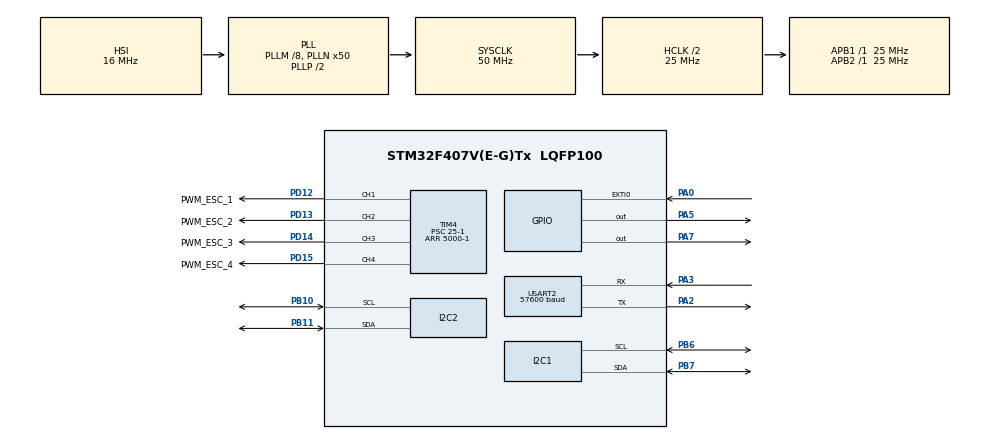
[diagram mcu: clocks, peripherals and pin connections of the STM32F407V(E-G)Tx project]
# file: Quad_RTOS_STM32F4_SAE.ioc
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Dma.Request0=USART2_TX
Dma.Request1=TIM2_UP/CH3
Dma.TIM2_UP/CH3.1.Direction=DMA_PERIPH_TO_MEMORY
Dma.TIM2_UP/CH3.1.FIFOMode=DMA_FIFOMODE_DISABLE
Dma.TIM2_UP/CH3.1.Instance=DMA1_Stream1
Dma.TIM2_UP/CH3.1.MemDataAlignment=DMA_MDATAALIGN_WORD
Dma.TIM2_UP/CH3.1.MemInc=DMA_MINC_ENABLE
Dma.TIM2_UP/CH3.1.Mode=DMA_NORMAL
Dma.TIM2_UP/CH3.1.PeriphDataAlignment=DMA_PDATAALIGN_WORD
Dma.TIM2_UP/CH3.1.PeriphInc=DMA_PINC_DISABLE
Dma.TIM2_UP/CH3.1.Priority=DMA_PRIORITY_LOW
Dma.USART2_TX.0.Direction=DMA_MEMORY_TO_PERIPH
Dma.USART2_TX.0.FIFOMode=DMA_FIFOMODE_DISABLE
Dma.USART2_TX.0.Instance=DMA1_Stream6
Dma.USART2_TX.0.MemDataAlignment=DMA_MDATAALIGN_BYTE
Dma.USART2_TX.0.MemInc=DMA_MINC_ENABLE
Dma.USART2_TX.0.Mode=DMA_NORMAL
Dma.USART2_TX.0.PeriphDataAlignment=DMA_PDATAALIGN_BYTE
Dma.USART2_TX.0.PeriphInc=DMA_PINC_DISABLE
Dma.USART2_TX.0.Priority=DMA_PRIORITY_LOW
I2C1.I2C_Mode=I2C_Fast
I2C2.I2C_Mode=I2C_Fast
Mcu.Family=STM32F4
Mcu.Name=STM32F407V(E-G)Tx
Mcu.Package=LQFP100
NVIC.DMA1_Stream1_IRQn=true\:0\:0\:false\:false\:true\:false\:true\:true
NVIC.DMA1_Stream6_IRQn=true\:0\:0\:false\:false\:true\:false\:true\:true
NVIC.EXTI0_IRQn=true\:0\:0\:false\:false\:true\:true\:true\:true
NVIC.I2C1_ER_IRQn=true\:0\:0\:false\:false\:true\:true\:true\:true
NVIC.I2C1_EV_IRQn=true\:0\:0\:false\:false\:true\:true\:true\:true
NVIC.I2C2_ER_IRQn=true\:0\:0\:false\:false\:true\:true\:true\:true
NVIC.I2C2_EV_IRQn=true\:0\:0\:false\:false\:true\:true\:true\:true
NVIC.PriorityGroup=NVIC_PRIORITYGROUP_4
NVIC.TIM2_IRQn=true\:0\:0\:false\:false\:true\:true\:true\:true
NVIC.TIM6_DAC_IRQn=true\:0\:0\:false\:false\:true\:false\:true\:true
NVIC.TimeBase=TIM6_DAC_IRQn
NVIC.TimeBaseIP=TIM6
NVIC.USART2_IRQn=true\:0\:0\:false\:false\:true\:true\:true\:true
PA0-WKUP.Signal=GPXTI0
PA13.Mode=Serial_Wire
PA13.Signal=SYS_JTMS-SWDIO
PA14.Mode=Serial_Wire
PA14.Signal=SYS_JTCK-SWCLK
PA2.Mode=Asynchronous
PA2.Signal=USART2_TX
PA3.Mode=Asynchronous
PA3.Signal=USART2_RX
PA5.PinState=GPIO_PIN_RESET
PA5.Signal=GPIO_Output
PA7.PinState=GPIO_PIN_RESET
PA7.Signal=GPIO_Output
PB10.Mode=I2C
PB10.Signal=I2C2_SCL
PB11.Mode=I2C
PB11.Signal=I2C2_SDA
PB6.Mode=I2C
PB6.Signal=I2C1_SCL
PB7.Mode=I2C
PB7.Signal=I2C1_SDA
PD12.GPIO_Label=PWM_ESC_1
PD12.Signal=S_TIM4_CH1
PD13.GPIO_Label=PWM_ESC_2
PD13.Signal=S_TIM4_CH2
PD14.GPIO_Label=PWM_ESC_3
PD14.Signal=S_TIM4_CH3
PD15.GPIO_Label=PWM_ESC_4
PD15.Signal=S_TIM4_CH4
PH0-OSC_IN.Mode=HSE-External-Oscillator
PH0-OSC_IN.Signal=RCC_OSC_IN
PH1-OSC_OUT.Mode=HSE-External-Oscillator
PH1-OSC_OUT.Signal=RCC_OSC_OUT
ProjectManager.HeapSize=0x200
ProjectManager.StackSize=0x400
ProjectManager.TargetToolchain=STM32CubeIDE
RCC.48MHZClocksFreq_Value=14285714.285714285
RCC.AHBCLKDivider=RCC_SYSCLK_DIV2
RCC.AHBFreq_Value=25000000
RCC.APB1Freq_Value=25000000
RCC.APB1TimFreq_Value=25000000
RCC.APB2Freq_Value=25000000
RCC.APB2TimFreq_Value=25000000
RCC.CortexFreq_Value=25000000
RCC.HCLKFreq_Value=25000000
RCC.HSE_VALUE=8000000
RCC.HSI_VALUE=16000000
RCC.LSE_VALUE=32768
RCC.PLLM=8
RCC.PLLN=50
RCC.PLLQ=7
RCC.SYSCLKFreq_VALUE=50000000
RCC.SYSCLKSource=RCC_SYSCLKSOURCE_PLLCLK
RCC.VCOOutputFreq_Value=100000000
SH.S_TIM4_CH1.0=TIM4_CH1,PWM Generation1 CH1
SH.S_TIM4_CH2.0=TIM4_CH2,PWM Generation2 CH2
SH.S_TIM4_CH3.0=TIM4_CH3,PWM Generation3 CH3
SH.S_TIM4_CH4.0=TIM4_CH4,PWM Generation4 CH4
TIM2.AutoReloadPreload=TIM_AUTORELOAD_PRELOAD_DISABLE
TIM2.Period=10000-1
TIM2.Prescaler=250-1
TIM4.Channel-PWM\ Generation1\ CH1=TIM_CHANNEL_1
TIM4.Channel-PWM\ Generation2\ CH2=TIM_CHANNEL_2
TIM4.Channel-PWM\ Generation3\ CH3=TIM_CHANNEL_3
TIM4.Channel-PWM\ Generation4\ CH4=TIM_CHANNEL_4
TIM4.Period=5000-1
TIM4.Prescaler=25-1
USART2.BaudRate=57600
USART2.VirtualMode=VM_ASYNC
VP_SYS_VS_tim6.Mode=TIM6
VP_TIM2_VS_ClockSourceINT.Mode=Internal
VP_TIM4_VS_ClockSourceINT.Mode=Internal
board=STM32F407G-DISC1

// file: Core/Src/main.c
/* USER CODE BEGIN Header */
/**
 ******************************************************************************
 * @file           : main.c
 * @brief          : Main program body
 ******************************************************************************
 * @attention
 *
 * Copyright (c) 2024 STMicroelectronics.
 * All rights reserved.
 *
 * This software is licensed under terms that can be found in the LICENSE file
 * in the root directory of this software component.
 * If no LICENSE file comes with this software, it is provided AS-IS.
 *
 ******************************************************************************
 */
/* USER CODE END Header */
#include "main.h"

/* USER CODE BEGIN Includes */
#include"FreeRTOS.h"
#include"task.h"
#include"mpu6050.h"
#include"bmp180.h"
#include"qmc5883l.h"
#include"ppm.h"
#include"pid.h"
#include"drone_controller.h"
#include"mixer.h"
#include"complementary_filter.h"

#include"checksum.h"
#include"common/mavlink.h"
#include"common/mavlink_msg_attitude.h"
#include"common/mavlink_msg_manual_setpoint.h"
#include"common/mavlink_msg_servo_output_raw.h"
#include"ardupilotmega/mavlink_msg_pid_tuning.h"
#include"minimal/mavlink_msg_heartbeat.h"
/* USER CODE END Includes */

/* USER CODE BEGIN PD */

#define system_id  0x01
#define imu_id 0x1E
#define pid_id 0xC2
#define servo_id 0x24
#define setpoint_id 0x51
#define hearbeat_id 0x02

#define calibrate 1

#define rad_to_deg 180/3.145926

#define DWT_CTRL (*(volatile uint32_t*)0xE0001000)
/* USER CODE END PD */

I2C_HandleTypeDef hi2c1;
I2C_HandleTypeDef hi2c2;

TIM_HandleTypeDef htim2;
TIM_HandleTypeDef htim4;
DMA_HandleTypeDef hdma_tim2_up_ch3;

UART_HandleTypeDef huart2;
DMA_HandleTypeDef hdma_usart2_tx;

/* USER CODE BEGIN PV */
mpu6050_angle_t angle_imu;
mpu6050_raw_t raw_imu;

bmp180_calibration_t raw_pressure;
bmp180_data_t pressure;

qmc5883l_angle_t magnet_angle;

ppm_t ppm_signal;

mavlink_message_t msg;
mavlink_attitude_t attitude_message;
mavlink_servo_output_raw_t servo_message;
mavlink_manual_setpoint_t setpoint_message;
mavlink_pid_tuning_t pid_message;
mavlink_heartbeat_t heart_message;
uint16_t msg_length;

int msg_select = 0;

drone_controller_t drone_control;

pid_data pid_roll;
pid_data pid_pitch;
pid_data pid_yaw;

cpFilter_t roll_filter;
cpFilter_t pitch_filter;

quadrotor Quadcopter;

int mpu_status = 0;
int qmc_status = 0;
/* USER CODE END PV */

void SystemClock_Config(void);
static void MX_GPIO_Init(void);
static void MX_DMA_Init(void);
static void MX_I2C2_Init(void);
static void MX_I2C1_Init(void);
static void MX_USART2_UART_Init(void);
static void MX_TIM4_Init(void);
static void MX_TIM2_Init(void);

/* USER CODE BEGIN 0 */
static void control_handler(void*parameter){
	TickType_t xLastWakeTime;
	xLastWakeTime = xTaskGetTickCount();
	for(;;){
		drone_control.throttle = ppm_signal.channel[3];
		drone_control.roll = mapDroneController(ppm_signal.channel[1], 1000, 2000, -25, 25);
		drone_control.pitch = mapDroneController(ppm_signal.channel[2], 1000, 2000, -25, 25);
		drone_control.yaw_rate = mapDroneController(ppm_signal.channel[4], 1000, 2000, -1, 1);
		drone_control.yaw = drone_control.yaw_rate;

		setpoint_message.thrust = drone_control.throttle;
		setpoint_message.roll = drone_control.roll;
		setpoint_message.pitch = drone_control.pitch;
		setpoint_message.yaw = drone_control.yaw;

		vTaskDelayUntil(&xLastWakeTime,pdMS_TO_TICKS(5));
	}
}

static void pwm_handler(void*parameter){
	TickType_t xLastWakeTime;
	xLastWakeTime = xTaskGetTickCount();
	for(;;){
		pid_calculate(angle_imu.roll, drone_control.roll, &pid_roll);
		pid_calculate(angle_imu.pitch, drone_control.pitch, &pid_pitch);

		magnet_angle.yaw_setpoint += drone_control.yaw/5;
		if(magnet_angle.yaw_setpoint >= 360){
			magnet_angle.yaw_setpoint -= 360;
		}
		else if(magnet_angle.yaw_setpoint < 0){
			magnet_angle.yaw_setpoint += 360;
		}

		pid_calculate(magnet_angle.yaw, magnet_angle.yaw_setpoint, &pid_yaw);

		pid_message.P = pid_roll.proportional;
		pid_message.I = pid_roll.integral;
		pid_message.D = pid_roll.derivative;

		calc_quad_mixer(&Quadcopter, drone_control.throttle, pid_pitch.output, pid_roll.output, pid_yaw.output);

		servo_message.servo1_raw = Quadcopter.esc_1;
		servo_message.servo2_raw = Quadcopter.esc_2;
		servo_message.servo3_raw = Quadcopter.esc_3;
		servo_message.servo4_raw = Quadcopter.esc_4;
		if(ppm_signal.channel[5] > 1400){
			htim4.Instance->CCR1 = 800;
			htim4.Instance->CCR2 = 800;
			htim4.Instance->CCR3 = 800;
			htim4.Instance->CCR4 = 800;
			HAL_GPIO_WritePin(GPIOA, GPIO_PIN_5, GPIO_PIN_RESET);
			HAL_GPIO_WritePin(GPIOA, GPIO_PIN_7, GPIO_PIN_SET);
		}
		else{
			HAL_GPIO_WritePin(GPIOA, GPIO_PIN_7, GPIO_PIN_RESET);
			HAL_GPIO_WritePin(GPIOA, GPIO_PIN_5, GPIO_PIN_SET);
			if(drone_control.throttle >= 1200){		// 1550
				htim4.Instance->CCR1 = Quadcopter.esc_1;
				htim4.Instance->CCR2 = Quadcopter.esc_2;
				htim4.Instance->CCR3 = Quadcopter.esc_3;
				htim4.Instance->CCR4 = Quadcopter.esc_4 + 30;

				//htim4.Instance->CCR1 = 0;
				//htim4.Instance->CCR2 = 0;
				//htim4.Instance->CCR3 = 0;
				//htim4.Instance->CCR4 = 0;
			}
			else {
				htim4.Instance->CCR1 = drone_control.throttle;			// * 0.858 + 63
				htim4.Instance->CCR2 = drone_control.throttle;			// * 0.928 + 24
				htim4.Instance->CCR3 = drone_control.throttle;
				htim4.Instance->CCR4 = drone_control.throttle;

				//htim4.Instance->CCR1 = 0;
				//htim4.Instance->CCR2 = 0;
				//htim4.Instance->CCR3 = 0;
				//htim4.Instance->CCR4 = 0;
			}
		}
		vTaskDelayUntil(&xLastWakeTime,pdMS_TO_TICKS(5));
	}
}

static void mpu6050_handler(void*parameter){
	TickType_t xLastWakeTime;
	xLastWakeTime = xTaskGetTickCount();
	for(;;){
		MPU6050_Read_Data(&raw_imu);
		MPU6050_Read_Angle(&raw_imu, &angle_imu);
		vTaskDelayUntil(&xLastWakeTime,pdMS_TO_TICKS(5));
	}
}

static void complementary_handler(void*parameter){
	TickType_t xLastWakeTime;
	xLastWakeTime = xTaskGetTickCount();
	for(;;){
		roll_filter.angle_rate = angle_imu.roll_gyro;
		roll_filter.LPF = angle_imu.roll_accel;
		pitch_filter.angle_rate = angle_imu.pitch_gyro;
		pitch_filter.LPF = angle_imu.pitch_accel;
		filter(&roll_filter);
		filter(&pitch_filter);
		angle_imu.roll = roll_filter.angle;
		angle_imu.pitch = pitch_filter.angle;

		attitude_message.roll = angle_imu.roll;
		attitude_message.pitch = angle_imu.pitch;
		attitude_message.rollspeed = angle_imu.roll_gyro;
		attitude_message.pitchspeed = angle_imu.pitch_gyro;
		vTaskDelayUntil(&xLastWakeTime,pdMS_TO_TICKS(5));
	}
}

static void mavlink_handler(void* parameter){
	TickType_t xLastWakeTime;
	xLastWakeTime = xTaskGetTickCount();
	for(;;){
		if(msg_select == 0){
			msg_length = mavlink_msg_heartbeat_encode(system_id, hearbeat_id, &msg, &heart_message);
			msg_select++;
		}
		else if(msg_select == 1){
			msg_length = mavlink_msg_attitude_encode(system_id, imu_id, &msg, &attitude_message);
			msg_select++;
		}
		else if(msg_select == 2){
			msg_length = mavlink_msg_servo_output_raw_encode(system_id, servo_id, &msg, &servo_message);
			msg_select++;
		}
		else if(msg_select == 3){
			msg_length = mavlink_msg_manual_setpoint_encode(system_id, setpoint_id, &msg, &setpoint_message);
			msg_select++;
		}
		else if(msg_select == 4){
			msg_length = mavlink_msg_pid_tuning_encode(system_id, pid_id, &msg, &pid_message);
			msg_select = 0;
		}
		HAL_UART_Transmit_DMA(&huart2, &msg, msg_length);

		vTaskDelayUntil(&xLastWakeTime,pdMS_TO_TICKS(10));
	}
}

static void qmc5883l_handler(void* parameter){
	TickType_t xLastWakeTime;
	xLastWakeTime = xTaskGetTickCount();
	for(;;){
		QMC5883L_Read(&magnet_angle);
		attitude_message.yaw = magnet_angle.yaw;
		vTaskDelayUntil(&xLastWakeTime,pdMS_TO_TICKS(5));
	}
}

void HAL_GPIO_EXTI_Callback(uint16_t GPIO_Pin)
{
	if(GPIO_Pin == GPIO_PIN_0){
		ppm_signal.meassureTime = __HAL_TIM_GET_COUNTER(&htim2)*10;
		__HAL_TIM_SET_COUNTER(&htim2,0);
		ppm_signal.channel_count += 1;
		if(ppm_signal.meassureTime > 3000){
			ppm_signal.channel_count = 0;
		}
		ppm_signal.channel[ppm_signal.channel_count] = ppm_signal.meassureTime;
	}
}

/* USER CODE END 0 */

int main(void)
{

  /* MCU Configuration--------------------------------------------------------*/

  /* Reset of all peripherals, Initializes the Flash interface and the Systick. */
  HAL_Init();

  /* Configure the system clock */
  SystemClock_Config();

  /* Initialize all configured peripherals */
  MX_GPIO_Init();
  MX_DMA_Init();
  MX_I2C2_Init();
  MX_I2C1_Init();
  MX_USART2_UART_Init();
  MX_TIM4_Init();
  MX_TIM2_Init();
  /* USER CODE BEGIN 2 */
	mpu_status = MPU6050_Init();
	qmc_status = QMC5883L_Init();

	HAL_TIM_Base_Start(&htim2);

	HAL_TIM_PWM_Start(&htim4, TIM_CHANNEL_1);
	HAL_TIM_PWM_Start(&htim4, TIM_CHANNEL_2);
	HAL_TIM_PWM_Start(&htim4, TIM_CHANNEL_3);
	HAL_TIM_PWM_Start(&htim4, TIM_CHANNEL_4);

#if calibrate
	/*
	htim4.Instance->CCR1 = 2000;
	htim4.Instance->CCR2 = 2000;
	htim4.Instance->CCR3 = 2000;
	htim4.Instance->CCR4 = 2000;
	HAL_Delay(2000);
	htim4.Instance->CCR1 = 1000;
	htim4.Instance->CCR2 = 1000;
	htim4.Instance->CCR3 = 1000;
	htim4.Instance->CCR4 = 1000;
	HAL_Delay(1000);
	 */
	HAL_Delay(1000);
	if(mpu_status == 1){
		for(int i = 0 ; i < 2 ; i++){
			HAL_GPIO_WritePin(GPIOA, GPIO_PIN_5, GPIO_PIN_SET);
			HAL_Delay(500);
			HAL_GPIO_WritePin(GPIOA, GPIO_PIN_5, GPIO_PIN_RESET);
			HAL_Delay(500);
		}
	}
	else if(mpu_status == 0){
		for(int i = 0 ; i < 2 ; i++){
			HAL_GPIO_WritePin(GPIOA, GPIO_PIN_7, GPIO_PIN_SET);
			HAL_Delay(250);
			HAL_GPIO_WritePin(GPIOA, GPIO_PIN_7, GPIO_PIN_RESET);
			HAL_Delay(250);
		}
	}
	HAL_Delay(1000);

	if(qmc_status == 1){
		for(int i = 0 ; i < 3 ; i++){
			HAL_GPIO_WritePin(GPIOA, GPIO_PIN_5, GPIO_PIN_SET);
			HAL_Delay(250);
			HAL_GPIO_WritePin(GPIOA, GPIO_PIN_5, GPIO_PIN_RESET);
			HAL_Delay(250);
		}
	}
	else if(qmc_status == 0){
		for(int i = 0 ; i < 3 ; i++){
			HAL_GPIO_WritePin(GPIOA, GPIO_PIN_7, GPIO_PIN_SET);
			HAL_Delay(250);
			HAL_GPIO_WritePin(GPIOA, GPIO_PIN_7, GPIO_PIN_RESET);
			HAL_Delay(250);
		}
	}
	MPU6050_Calibrate(&raw_imu);
	QMC5883L_Read(&magnet_angle);
	magnet_angle.yaw_setpoint = magnet_angle.yaw;

#endif
	heart_message.type = 2;
	heart_message.autopilot = 17;
	heart_message.base_mode = 2;
	heart_message.system_status = 3;

	pid_roll.p_gain = 10.9 ;
	pid_roll.i_gain = 0.5;
	pid_roll.d_gain = 0.9;
	pid_roll.max_range = 500;
	pid_roll.scale = 5;

	pid_pitch.p_gain = 10;			//10
	pid_pitch.i_gain = 0.5;			//0.5
	pid_pitch.d_gain = 0.9;			//0.9
	pid_pitch.max_range = 500;
	pid_pitch.scale = 5;

	pid_yaw.p_gain = 15.7;			//14.5
	pid_yaw.i_gain = 0.2;
	pid_yaw.d_gain = 0.8;			//0.8
	pid_yaw.max_range= 500;
	pid_yaw.scale = 5;

	roll_filter.contantTime = 0.495;
	roll_filter.sampleTime = 0.005;

	pitch_filter.contantTime = 0.495;
	pitch_filter.sampleTime = 0.005;

	DWT_CTRL |= (1 << 0);

	SEGGER_SYSVIEW_Conf();
	SEGGER_SYSVIEW_Start();

	xTaskCreate(mpu6050_handler, "mpu6050_task", 100, "mpu6050_task", 4, NULL);
	xTaskCreate(complementary_handler, "filter_task", 100, "compelmentary_filter_task", 4, NULL);
	xTaskCreate(pwm_handler, "pwm_task", 200, "pwm_task", 4, NULL);
	xTaskCreate(qmc5883l_handler, "qmc5883l_task", 100, "qmc5883l_task", 3, NULL);
	xTaskCreate(control_handler,"control_task",100,"control_task",3,NULL);
	xTaskCreate(mavlink_handler, "mavlink_task", 200, "mavlink_task", 2, NULL);

	vTaskStartScheduler();
  /* USER CODE END 2 */

  /* Infinite loop */
	while (1)
	{

	}
}

void SystemClock_Config(void)
{
  RCC_OscInitTypeDef RCC_OscInitStruct = {0};
  RCC_ClkInitTypeDef RCC_ClkInitStruct = {0};

  /** Configure the main internal regulator output voltage
  */
  __HAL_RCC_PWR_CLK_ENABLE();
  __HAL_PWR_VOLTAGESCALING_CONFIG(PWR_REGULATOR_VOLTAGE_SCALE1);

  /** Initializes the RCC Oscillators according to the specified parameters
  * in the RCC_OscInitTypeDef structure.
  */
  RCC_OscInitStruct.OscillatorType = RCC_OSCILLATORTYPE_HSI;
  RCC_OscInitStruct.HSIState = RCC_HSI_ON;
  RCC_OscInitStruct.HSICalibrationValue = RCC_HSICALIBRATION_DEFAULT;
  RCC_OscInitStruct.PLL.PLLState = RCC_PLL_ON;
  RCC_OscInitStruct.PLL.PLLSource = RCC_PLLSOURCE_HSI;
  RCC_OscInitStruct.PLL.PLLM = 8;
  RCC_OscInitStruct.PLL.PLLN = 50;
  RCC_OscInitStruct.PLL.PLLP = RCC_PLLP_DIV2;
  RCC_OscInitStruct.PLL.PLLQ = 7;
  if (HAL_RCC_OscConfig(&RCC_OscInitStruct) != HAL_OK)
  {
    Error_Handler();
  }

  /** Initializes the CPU, AHB and APB buses clocks
  */
  RCC_ClkInitStruct.ClockType = RCC_CLOCKTYPE_HCLK|RCC_CLOCKTYPE_SYSCLK
                              |RCC_CLOCKTYPE_PCLK1|RCC_CLOCKTYPE_PCLK2;
  RCC_ClkInitStruct.SYSCLKSource = RCC_SYSCLKSOURCE_PLLCLK;
  RCC_ClkInitStruct.AHBCLKDivider = RCC_SYSCLK_DIV2;
  RCC_ClkInitStruct.APB1CLKDivider = RCC_HCLK_DIV1;
  RCC_ClkInitStruct.APB2CLKDivider = RCC_HCLK_DIV1;

  if (HAL_RCC_ClockConfig(&RCC_ClkInitStruct, FLASH_LATENCY_0) != HAL_OK)
  {
    Error_Handler();
  }
}

static void MX_I2C1_Init(void)
{

  hi2c1.Instance = I2C1;
  hi2c1.Init.ClockSpeed = 400000;
  hi2c1.Init.DutyCycle = I2C_DUTYCYCLE_2;
  hi2c1.Init.OwnAddress1 = 0;
  hi2c1.Init.AddressingMode = I2C_ADDRESSINGMODE_7BIT;
  hi2c1.Init.DualAddressMode = I2C_DUALADDRESS_DISABLE;
  hi2c1.Init.OwnAddress2 = 0;
  hi2c1.Init.GeneralCallMode = I2C_GENERALCALL_DISABLE;
  hi2c1.Init.NoStretchMode = I2C_NOSTRETCH_DISABLE;
  if (HAL_I2C_Init(&hi2c1) != HAL_OK)
  {
    Error_Handler();
  }

}

static void MX_I2C2_Init(void)
{

  hi2c2.Instance = I2C2;
  hi2c2.Init.ClockSpeed = 400000;
  hi2c2.Init.DutyCycle = I2C_DUTYCYCLE_2;
  hi2c2.Init.OwnAddress1 = 0;
  hi2c2.Init.AddressingMode = I2C_ADDRESSINGMODE_7BIT;
  hi2c2.Init.DualAddressMode = I2C_DUALADDRESS_DISABLE;
  hi2c2.Init.OwnAddress2 = 0;
  hi2c2.Init.GeneralCallMode = I2C_GENERALCALL_DISABLE;
  hi2c2.Init.NoStretchMode = I2C_NOSTRETCH_DISABLE;
  if (HAL_I2C_Init(&hi2c2) != HAL_OK)
  {
    Error_Handler();
  }

}

static void MX_TIM2_Init(void)
{

  TIM_ClockConfigTypeDef sClockSourceConfig = {0};
  TIM_MasterConfigTypeDef sMasterConfig = {0};

  htim2.Instance = TIM2;
  htim2.Init.Prescaler = 250-1;
  htim2.Init.CounterMode = TIM_COUNTERMODE_UP;
  htim2.Init.Period = 10000-1;
  htim2.Init.ClockDivision = TIM_CLOCKDIVISION_DIV1;
  htim2.Init.AutoReloadPreload = TIM_AUTORELOAD_PRELOAD_DISABLE;
  if (HAL_TIM_Base_Init(&htim2) != HAL_OK)
  {
    Error_Handler();
  }
  sClockSourceConfig.ClockSource = TIM_CLOCKSOURCE_INTERNAL;
  if (HAL_TIM_ConfigClockSource(&htim2, &sClockSourceConfig) != HAL_OK)
  {
    Error_Handler();
  }
  sMasterConfig.MasterOutputTrigger = TIM_TRGO_RESET;
  sMasterConfig.MasterSlaveMode = TIM_MASTERSLAVEMODE_DISABLE;
  if (HAL_TIMEx_MasterConfigSynchronization(&htim2, &sMasterConfig) != HAL_OK)
  {
    Error_Handler();
  }

}

static void MX_TIM4_Init(void)
{

  TIM_ClockConfigTypeDef sClockSourceConfig = {0};
  TIM_MasterConfigTypeDef sMasterConfig = {0};
  TIM_OC_InitTypeDef sConfigOC = {0};

  htim4.Instance = TIM4;
  htim4.Init.Prescaler = 25-1;
  htim4.Init.CounterMode = TIM_COUNTERMODE_UP;
  htim4.Init.Period = 5000-1;
  htim4.Init.ClockDivision = TIM_CLOCKDIVISION_DIV1;
  htim4.Init.AutoReloadPreload = TIM_AUTORELOAD_PRELOAD_DISABLE;
  if (HAL_TIM_Base_Init(&htim4) != HAL_OK)
  {
    Error_Handler();
  }
  sClockSourceConfig.ClockSource = TIM_CLOCKSOURCE_INTERNAL;
  if (HAL_TIM_ConfigClockSource(&htim4, &sClockSourceConfig) != HAL_OK)
  {
    Error_Handler();
  }
  if (HAL_TIM_PWM_Init(&htim4) != HAL_OK)
  {
    Error_Handler();
  }
  sMasterConfig.MasterOutputTrigger = TIM_TRGO_RESET;
  sMasterConfig.MasterSlaveMode = TIM_MASTERSLAVEMODE_DISABLE;
  if (HAL_TIMEx_MasterConfigSynchronization(&htim4, &sMasterConfig) != HAL_OK)
  {
    Error_Handler();
  }
  sConfigOC.OCMode = TIM_OCMODE_PWM1;
  sConfigOC.Pulse = 0;
  sConfigOC.OCPolarity = TIM_OCPOLARITY_HIGH;
  sConfigOC.OCFastMode = TIM_OCFAST_DISABLE;
  if (HAL_TIM_PWM_ConfigChannel(&htim4, &sConfigOC, TIM_CHANNEL_1) != HAL_OK)
  {
    Error_Handler();
  }
  if (HAL_TIM_PWM_ConfigChannel(&htim4, &sConfigOC, TIM_CHANNEL_2) != HAL_OK)
  {
    Error_Handler();
  }
  if (HAL_TIM_PWM_ConfigChannel(&htim4, &sConfigOC, TIM_CHANNEL_3) != HAL_OK)
  {
    Error_Handler();
  }
  if (HAL_TIM_PWM_ConfigChannel(&htim4, &sConfigOC, TIM_CHANNEL_4) != HAL_OK)
  {
    Error_Handler();
  }
  HAL_TIM_MspPostInit(&htim4);

}

static void MX_USART2_UART_Init(void)
{

  huart2.Instance = USART2;
  huart2.Init.BaudRate = 57600;
  huart2.Init.WordLength = UART_WORDLENGTH_8B;
  huart2.Init.StopBits = UART_STOPBITS_1;
  huart2.Init.Parity = UART_PARITY_NONE;
  huart2.Init.Mode = UART_MODE_TX_RX;
  huart2.Init.HwFlowCtl = UART_HWCONTROL_NONE;
  huart2.Init.OverSampling = UART_OVERSAMPLING_16;
  if (HAL_UART_Init(&huart2) != HAL_OK)
  {
    Error_Handler();
  }

}

static void MX_DMA_Init(void)
{

  /* DMA controller clock enable */
  __HAL_RCC_DMA1_CLK_ENABLE();

  /* DMA interrupt init */
  /* DMA1_Stream1_IRQn interrupt configuration */
  HAL_NVIC_SetPriority(DMA1_Stream1_IRQn, 0, 0);
  HAL_NVIC_EnableIRQ(DMA1_Stream1_IRQn);
  /* DMA1_Stream6_IRQn interrupt configuration */
  HAL_NVIC_SetPriority(DMA1_Stream6_IRQn, 0, 0);
  HAL_NVIC_EnableIRQ(DMA1_Stream6_IRQn);

}

static void MX_GPIO_Init(void)
{
  GPIO_InitTypeDef GPIO_InitStruct = {0};

  /* GPIO Ports Clock Enable */
  __HAL_RCC_GPIOH_CLK_ENABLE();
  __HAL_RCC_GPIOA_CLK_ENABLE();
  __HAL_RCC_GPIOB_CLK_ENABLE();
  __HAL_RCC_GPIOD_CLK_ENABLE();

  /*Configure GPIO pin Output Level */
  HAL_GPIO_WritePin(GPIOA, GPIO_PIN_5|GPIO_PIN_7, GPIO_PIN_RESET);

  /*Configure GPIO pin : PA0 */
  GPIO_InitStruct.Pin = GPIO_PIN_0;
  GPIO_InitStruct.Mode = GPIO_MODE_IT_RISING;
  GPIO_InitStruct.Pull = GPIO_NOPULL;
  HAL_GPIO_Init(GPIOA, &GPIO_InitStruct);

  /*Configure GPIO pins : PA5 PA7 */
  GPIO_InitStruct.Pin = GPIO_PIN_5|GPIO_PIN_7;
  GPIO_InitStruct.Mode = GPIO_MODE_OUTPUT_PP;
  GPIO_InitStruct.Pull = GPIO_NOPULL;
  GPIO_InitStruct.Speed = GPIO_SPEED_FREQ_LOW;
  HAL_GPIO_Init(GPIOA, &GPIO_InitStruct);

  /* EXTI interrupt init*/
  HAL_NVIC_SetPriority(EXTI0_IRQn, 0, 0);
  HAL_NVIC_EnableIRQ(EXTI0_IRQn);

}

void HAL_TIM_PeriodElapsedCallback(TIM_HandleTypeDef *htim)
{
  if (htim->Instance == TIM6) {
    HAL_IncTick();
  }
}

void Error_Handler(void)
{
	__disable_irq();
	while (1)
	{
	}
}
